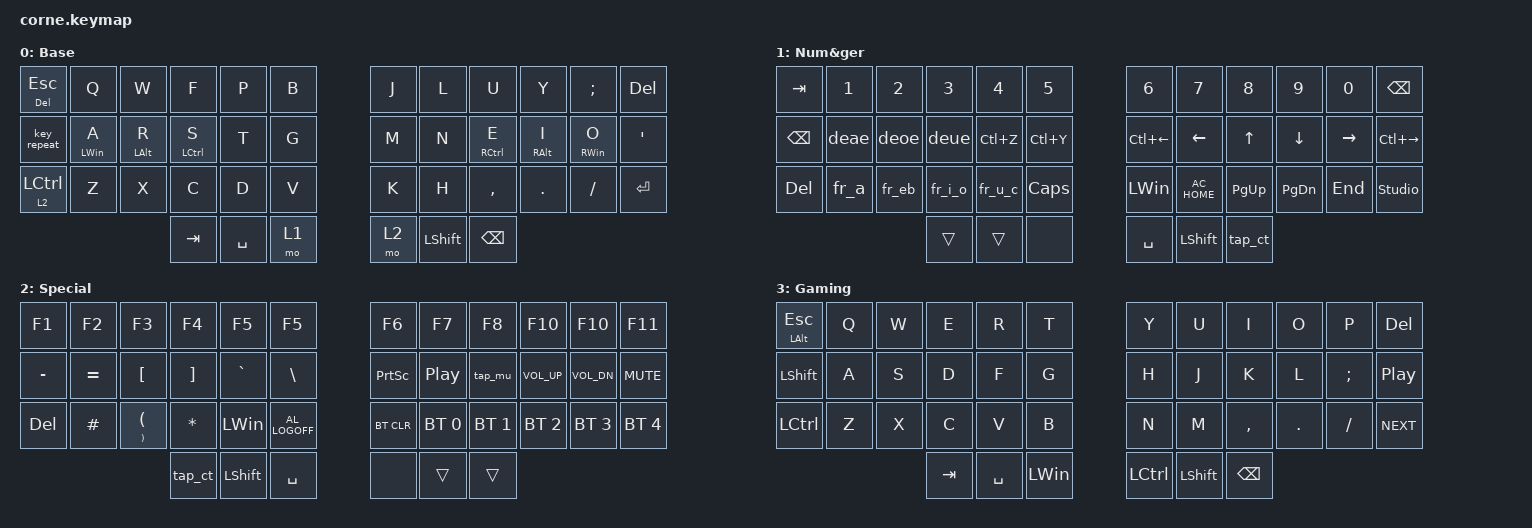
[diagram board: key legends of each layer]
/*

 * Copyright (c) 2020 The ZMK Contributors
 *
 * SPDX-License-Identifier: MIT
 */
// #define HOST_OS 2  // set to 2 for macOS/Windows-Alt-Codes, default is 0 (Windows)

#include <behaviors.dtsi>
#include <dt-bindings/zmk/bt.h>
#include <dt-bindings/zmk/keys.h>
#include <dt-bindings/zmk/mouse.h>
#include "helper.h"
#include "german.dtsi"

/*                                      42 KEY MATRIX / LAYOUT MAPPING

  ╭────────────────────────┬────────────────────────╮ ╭─────────────────────────┬─────────────────────────╮
  │  0   1   2   3   4   5 │  6   7   8   9  10  11 │ │ LT5 LT4 LT3 LT2 LT1 LT0 │ RT0 RT1 RT2 RT3 RT4 RT5 │
  │ 12  13  14  15  16  17 │ 18  19  20  21  22  23 │ │ LM5 LM4 LM3 LM2 LM1 LM0 │ RM0 RM1 RM2 RM3 RM4 RM5 │
  │ 24  25  26  27  28  29 │ 30  31  32  33  34  35 │ │ LB5 LB4 LB3 LB2 LB1 LB0 │ RB0 RB1 RB2 RB3 RB4 RB5 │
  ╰───────────╮ 36  37  38 │ 39  40  41 ╭───────────╯ ╰───────────╮ LH2 LH1 LH0 │ RH0 RH1 RH2 ╭───────────╯
              ╰────────────┴────────────╯                         ╰─────────────┴─────────────╯             */

/ {
    keymap {
        compatible = "zmk,keymap";

        default_layer {
            // -----------------------------------------------------------------------------------------
            // |  TAB |  Q  |  W  |  E  |  R  |  T  |   |  Y  |  U   |  I  |  O  |  P  | BKSP |
            // | CTRL |  A  |  S  |  D  |  F  |  G  |   |  H  |  J   |  K  |  L  |  ;  |  '   |
            // | SHFT |  Z  |  X  |  C  |  V  |  B  |   |  N  |  M   |  ,  |  .  |  /  | ESC  |
            //                    | GUI | LWR | SPC |   | ENT | RSE  | ALT |

            display-name = "Base";
            bindings = <
&mt DEL ESC  &kp Q           &kp W           &kp F        &kp P      &kp B    &kp J  &kp L           &kp U          &kp Y            &kp SEMICOLON    &kp DELETE
&key_repeat  &hrm LEFT_WIN A &hrm LEFT_ALT R &hrm LCTRL S &kp T      &kp G    &kp M  &kp N           &hrm RCTRL E   &hrm RIGHT_ALT I &hrm RIGHT_WIN O &kp SQT
&lt 2 LCTRL  &kp Z           &kp X           &kp C        &kp D      &kp V    &kp K  &kp H           &kp COMMA      &kp DOT          &kp FSLH         &kp ENTER
                                             &kp TAB      &kp SPACE  &mo 1    &mo 2  &kp LEFT_SHIFT  &kp BACKSPACE
            >;
        };

        lower_layer {
            // -----------------------------------------------------------------------------------------
            // |  TAB |  1  |  2  |  3  |  4  |  5  |   |  6  |  7  |  8  |  9  |  0  | BKSP |
            // | BTCLR| BT1 | BT2 | BT3 | BT4 | BT5 |   | LFT | DWN |  UP | RGT |     |      |
            // | SHFT |     |     |     |     |     |   |     |     |     |     |     |      |
            //                    | GUI |     | SPC |   | ENT |     | ALT |

            display-name = "Num&ger";
            bindings = <
&kp TAB        &kp N1  &kp N2  &kp N3   &kp N4         &kp N5          &kp N6           &kp N7          &kp NUMBER_8  &kp N9          &kp N0     &kp BSPC
&kp BACKSPACE  &deae   &deoe  &deue     &kp LC(Z)  &kp LC(Y)           &kp LC(LEFT)     &kp LEFT        &kp UP        &kp DOWN_ARROW  &kp RIGHT  &kp LC(RIGHT)
&kp DELETE     &fr_a   &fr_eb  &fr_i_o  &fr_u_c        &kp CAPSLOCK    &kp LEFT_WIN     &kp C_AC_HOME   &kp PAGE_UP   &kp PAGE_DOWN   &kp END    &studio_unlock
                               &trans   &trans         &none           &kp SPACE  &kp LEFT_SHIFT  &tap_ct
            >;
        };

        raise_layer {
            // -----------------------------------------------------------------------------------------
            // |  TAB |  !  |  @  |  #  |  $  |  %  |   |  ^  |  &  |  *  |  (  |  )  | BKSP |
            // | CTRL |     |     |     |     |     |   |  -  |  =  |  [  |  ]  |  \  |  `   |
            // | SHFT |     |     |     |     |     |   |  _  |  +  |  {  |  }  | "|" |  ~   |
            //                    | GUI |     | SPC |   | ENT |     | ALT |

            display-name = "Special";
            bindings = <
&kp F1      &kp F2        &kp F3                                  &kp F4             &kp F5          &kp F5             &kp F6           &kp F7                    &kp F8             &kp F10       &kp F10       &kp F11
&kp MINUS   &kp EQUAL     &kp LEFT_BRACKET                        &kp RIGHT_BRACKET  &kp GRAVE       &kp BACKSLASH      &kp PRINTSCREEN  &kp C_PLAY_PAUSE          &tap_mu            &kp C_VOL_UP  &kp C_VOL_DN  &kp K_MUTE
&kp DELETE  &kp HASH  &mt RIGHT_PARENTHESIS LEFT_PARENTHESIS      &kp ASTERISK       &kp LEFT_WIN    &kp C_AL_LOGOFF    &bt BT_CLR       &bt BT_SEL 0              &bt BT_SEL 1       &bt BT_SEL 2       &bt BT_SEL 3    &bt BT_SEL 4 
                                                                  &tap_ct       &kp LEFT_SHIFT  &kp SPACE    &none            &trans                    &trans
            >;
        };

        gaming {
            display-name = "Gaming";
            bindings = <
&mt LEFT_ALT ESC  &kp Q  &kp W  &kp E    &kp R      &kp T           &kp Y   &kp U           &kp I          &kp O       &kp P          &kp DELETE
&kp LEFT_SHIFT    &kp A  &kp S  &kp D    &kp F      &kp G           &kp H   &kp J           &kp K          &kp L       &kp SEMICOLON  &kp C_PLAY_PAUSE
&kp LCTRL         &kp Z  &kp X  &kp C    &kp V      &kp B           &kp N   &kp M           &kp COMMA      &kp PERIOD  &kp SLASH      &kp C_NEXT        
                                &kp TAB  &kp SPACE  &kp LEFT_WIN    &kp LCTRL  &kp LEFT_SHIFT  &kp BACKSPACE
            >;
        };
    };
};
